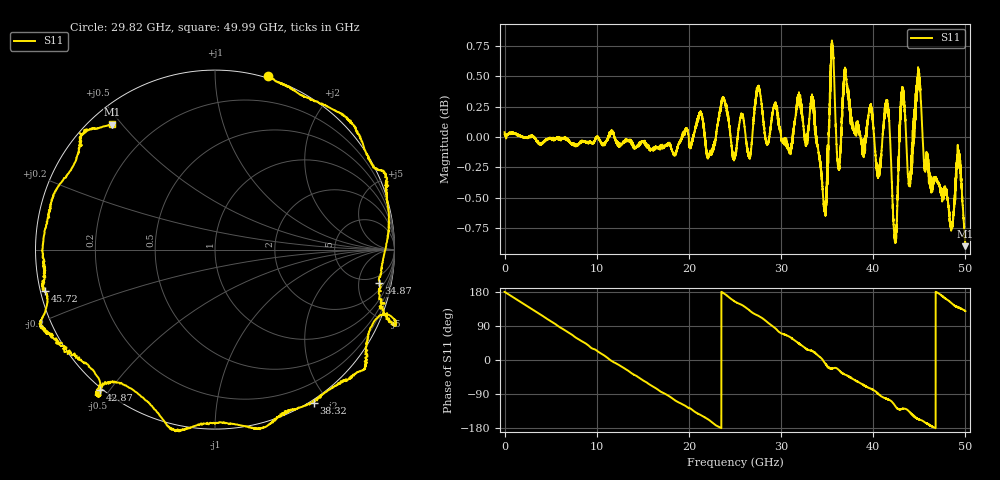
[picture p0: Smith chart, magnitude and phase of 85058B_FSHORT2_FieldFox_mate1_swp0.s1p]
!Created with skrf (http://scikit-rf.org).
# Hz S RI R 50.0
!freq ReS11 ImS11
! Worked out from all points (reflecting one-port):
!   10000 points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, 5.3 MHz to 50 GHz, reference 50 ohm
!   lowest |S11| = -0.9 dB at 49.99 GHz (marker M1), VSWR 19.31, Z = 3.16 + j23.5 ohm
!   phase of S11 starts at 180 deg and turns -771 deg over the sweep
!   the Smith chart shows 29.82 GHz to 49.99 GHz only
!   S11 on the Smith chart (normalised r, x): 29.82 GHz: -0.01, +1.35; 34.87 GHz: 3.00, -8.82; 38.32 GHz: -0.03, -1.84; 42.87 GHz: -0.01, -0.47; 45.72 GHz: 0.01, -0.12; 49.99 GHz: 0.06, +0.47
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5299970  -1.004 0.00158
1.60029e9  -0.9084 0.4207
3.35028e9  -0.6168 0.7844
6.255262e9  0.1243 0.9907
9.460243e9  0.8517 0.5129
1.250522e10  0.96 -0.2505
1.576021e10  0.4171 -0.8969
1.875519e10  -0.3408 -0.9305
2.126017e10  -0.8391 -0.5878
2.295016e10  -0.994 -0.128
2.500515e10  -0.8824 0.4303
2.750014e10  -0.4768 0.9313
2.982012e10  0.2925 0.9648
3.125511e10  0.5654 0.823
3.35101e10  0.9557 0.38
3.486509e10  0.9147 -0.1881
3.566509e10  1.006 -0.3978
3.750507e10  0.712 -0.7354
3.832007e10  0.5519 -0.8521
4.139005e10  -0.2153 -1.008
4.286504e10  -0.6424 -0.7815
4.375504e10  -0.6513 -0.7119
4.481503e10  -0.9534 -0.4313
4.571503e10  -0.9476 -0.23
4.775001e10  -0.9116 0.2664
4.908001e10  -0.7494 0.6195
4.9985e10  -0.5736 0.6956
5e10  -0.571 0.7005
